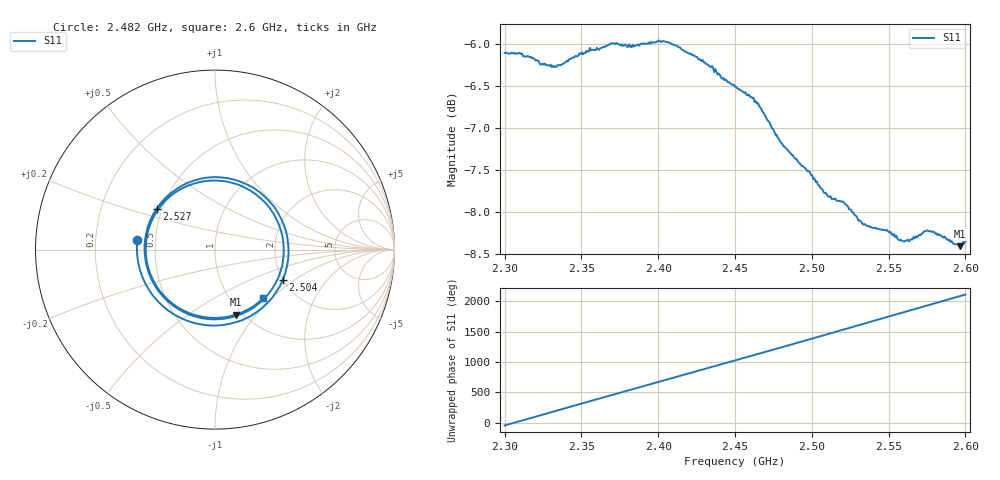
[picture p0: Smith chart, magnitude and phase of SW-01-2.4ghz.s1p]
! NanoVNA-App
! Date: 2026-05-22 18:55:15
! Start: 2.3GHz Stop: 2.6GHz Points: 401
! S-Parameter data: F S11
# Hz S RI R 50
!  Frequency  S11_Real  S11_Imag
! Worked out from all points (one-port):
!   401 points, 2.3 GHz to 2.6 GHz, reference 50 ohm
!   lowest |S11| = -8.4 dB at 2.596 GHz (marker M1), VSWR 2.22, Z = 46.8 - j39.6 ohm
!   |S11| at or under -10 dB: nowhere
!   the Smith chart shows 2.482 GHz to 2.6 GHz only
!   S11 on the Smith chart (normalised r, x): 2.482 GHz: 0.39, +0.05; 2.504 GHz: 1.99, -0.81; 2.527 GHz: 0.47, +0.25; 2.6 GHz: 1.40, -0.89
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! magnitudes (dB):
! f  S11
! 2.3 GHz  -6.1
! 2.31 GHz  -6.1
! 2.324 GHz  -6.2
! 2.332 GHz  -6.3
! 2.337 GHz  -6.2
! 2.355 GHz  -6.1
! 2.37 GHz  -6.0
! 2.375 GHz  -6.0
! 2.383 GHz  -6.0
! 2.402 GHz  -6.0
! 2.413 GHz  -6.0
! 2.434 GHz  -6.3
! 2.45 GHz  -6.5
! 2.463 GHz  -6.7
! 2.482 GHz  -7.2
! 2.487 GHz  -7.3
! 2.504 GHz  -7.7
! 2.511 GHz  -7.8
! 2.521 GHz  -7.9
! 2.525 GHz  -8.0
! 2.527 GHz  -8.0
! 2.535 GHz  -8.1
! 2.55 GHz  -8.2
! 2.558 GHz  -8.3
! 2.562 GHz  -8.3
! 2.576 GHz  -8.2
! 2.596 GHz  -8.4
! 2.6 GHz  -8.4
